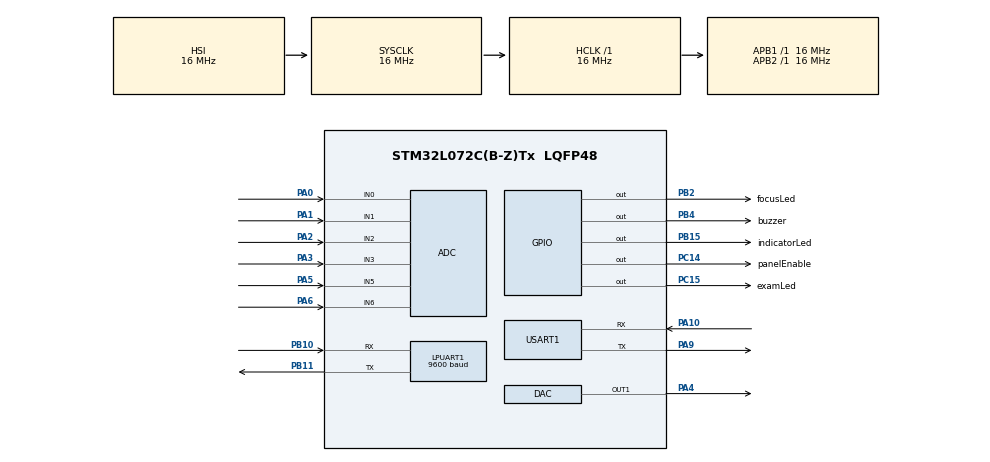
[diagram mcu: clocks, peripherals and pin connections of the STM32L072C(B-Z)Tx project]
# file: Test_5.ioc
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ADC.ContinuousConvMode=DISABLE
ADC.DMAContinuousRequests=ENABLE
Dma.ADC.0.Direction=DMA_PERIPH_TO_MEMORY
Dma.ADC.0.Instance=DMA1_Channel1
Dma.ADC.0.MemDataAlignment=DMA_MDATAALIGN_HALFWORD
Dma.ADC.0.MemInc=DMA_MINC_ENABLE
Dma.ADC.0.Mode=DMA_CIRCULAR
Dma.ADC.0.PeriphDataAlignment=DMA_PDATAALIGN_HALFWORD
Dma.ADC.0.PeriphInc=DMA_PINC_DISABLE
Dma.ADC.0.Priority=DMA_PRIORITY_LOW
Dma.LPUART1_RX.1.Direction=DMA_PERIPH_TO_MEMORY
Dma.LPUART1_RX.1.Instance=DMA1_Channel3
Dma.LPUART1_RX.1.MemDataAlignment=DMA_MDATAALIGN_BYTE
Dma.LPUART1_RX.1.MemInc=DMA_MINC_ENABLE
Dma.LPUART1_RX.1.Mode=DMA_NORMAL
Dma.LPUART1_RX.1.PeriphDataAlignment=DMA_PDATAALIGN_BYTE
Dma.LPUART1_RX.1.PeriphInc=DMA_PINC_DISABLE
Dma.LPUART1_RX.1.Priority=DMA_PRIORITY_LOW
Dma.Request0=ADC
Dma.Request1=LPUART1_RX
LPUART1.BaudRate=9600
LPUART1.WordLength=UART_WORDLENGTH_8B
Mcu.Family=STM32L0
Mcu.Name=STM32L072C(B-Z)Tx
Mcu.Package=LQFP48
NVIC.DMA1_Channel1_IRQn=true\:0\:0\:false\:false\:true\:false\:true
NVIC.DMA1_Channel2_3_IRQn=true\:0\:0\:false\:false\:true\:false\:true
NVIC.TIM7_IRQn=true\:0\:0\:false\:false\:true\:true\:true
NVIC.USART1_IRQn=true\:0\:0\:false\:false\:true\:true\:true
PA0.Mode=IN0
PA0.Signal=ADC_IN0
PA1.Mode=IN1
PA1.Signal=ADC_IN1
PA10.Mode=Asynchronous
PA10.Signal=USART1_RX
PA13.Mode=Serial_Wire
PA13.Signal=SYS_SWDIO
PA14.Mode=Serial_Wire
PA14.Signal=SYS_SWCLK
PA2.Mode=IN2
PA2.Signal=ADC_IN2
PA3.Mode=IN3
PA3.Signal=ADC_IN3
PA4.Signal=COMP_DAC1_group
PA5.Mode=IN5
PA5.Signal=ADC_IN5
PA6.Mode=IN6
PA6.Signal=ADC_IN6
PA9.Mode=Asynchronous
PA9.Signal=USART1_TX
PB10.Mode=Asynchronous
PB10.Signal=LPUART1_RX
PB11.Mode=Asynchronous
PB11.Signal=LPUART1_TX
PB15.GPIO_Label=indicatorLed
PB15.Signal=GPIO_Output
PB2.GPIO_Label=focusLed
PB2.Signal=GPIO_Output
PB4.GPIO_Label=buzzer
PB4.Signal=GPIO_Output
PC14-OSC32_IN.GPIO_Label=panelEnable
PC14-OSC32_IN.Signal=GPIO_Output
PC15-OSC32_OUT.GPIO_Label=examLed
PC15-OSC32_OUT.Signal=GPIO_Output
ProjectManager.HeapSize=0x200
ProjectManager.StackSize=0x400
ProjectManager.TargetToolchain=MDK-ARM V5
RCC.AHBFreq_Value=16000000
RCC.APB1Freq_Value=16000000
RCC.APB1TimFreq_Value=16000000
RCC.APB2Freq_Value=16000000
RCC.APB2TimFreq_Value=16000000
RCC.HCLKFreq_Value=16000000
RCC.HSE_VALUE=8000000
RCC.HSI16_VALUE=16000000
RCC.HSI48_VALUE=48000000
RCC.HSI_VALUE=16000000
RCC.LSE_VALUE=32768
RCC.MSI_VALUE=2097000
RCC.SYSCLKFreq_VALUE=16000000
RCC.SYSCLKSource=RCC_SYSCLKSOURCE_HSI
RCC.VCOOutputFreq_Value=48000000
SH.COMP_DAC1_group.0=DAC_OUT1,DAC_OUT1
TIM7.Period=3999
TIM7.Prescaler=3999
USART1.VirtualMode-Asynchronous=VM_ASYNC
VP_RTC_VS_RTC_Activate.Mode=RTC_Enabled
VP_RTC_VS_RTC_Calendar.Mode=RTC_Calendar
VP_TIM7_VS_ClockSourceINT.Mode=Enable_Timer
board=custom

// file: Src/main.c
/* USER CODE BEGIN Header */
/**
  ******************************************************************************
  * @file           : main.c
  * @brief          : Main program body
  ******************************************************************************
  * @attention
  *
  * <h2><center>&copy; Copyright (c) 2021 STMicroelectronics.
  * All rights reserved.</center></h2>
  *
  * This software component is licensed by ST under BSD 3-Clause license,
  * the "License"; You may not use this file except in compliance with the
  * License. You may obtain a copy of the License at:
  *                        opensource.org/licenses/BSD-3-Clause
  *
  ******************************************************************************
  */
/* USER CODE END Header */

#include "main.h"
#include "stdio.h"

ADC_HandleTypeDef hadc;
DMA_HandleTypeDef hdma_adc;

DAC_HandleTypeDef hdac;

UART_HandleTypeDef hlpuart1;
UART_HandleTypeDef huart1;
DMA_HandleTypeDef hdma_lpuart1_rx;

RTC_HandleTypeDef hrtc;

TIM_HandleTypeDef htim7;

/* USER CODE BEGIN PV */
uint16_t adc_buf[6];
uint8_t tempal_rx[4];
extern volatile uint8_t Rx_Data[2];
uint8_t state=0;
char string_celcius[] = {'0', '0', '0'};
char vbat[] = {0};

uint16_t tempal_temp;
uint16_t tempal_vbat;
/* USER CODE END PV */

void SystemClock_Config(void);
static void MX_GPIO_Init(void);
static void MX_DMA_Init(void);
static void MX_DAC_Init(void);
static void MX_ADC_Init(void);
static void MX_LPUART1_UART_Init(void);
static void MX_USART1_UART_Init(void);
static void MX_RTC_Init(void);
static void MX_TIM7_Init(void);

/**
  * @brief  The application entry poi
  * @retval int
  */
int main(void)
{

  /* MCU Configuration--------------------------------------------------------*/

  /* Reset of all peripherals, Initializes the Flash interface and the Systick. */
  HAL_Init();

  /* Configure the system clock */
  SystemClock_Config();

  /* Initialize all configured peripherals */
  MX_GPIO_Init();
  MX_DMA_Init();
  MX_DAC_Init();
  MX_ADC_Init();
  MX_LPUART1_UART_Init();
  MX_USART1_UART_Init();
  MX_RTC_Init();
  MX_TIM7_Init();
  /* USER CODE BEGIN 2 */
	__HAL_UART_ENABLE_IT(&huart1, UART_IT_RXNE);
	HAL_UART_Receive_DMA(&hlpuart1, tempal_rx, 4);
	while(HAL_ADCEx_Calibration_Start(&hadc, ADC_SINGLE_ENDED) != HAL_OK){};	// Kalibrasyon yap
	HAL_ADC_Start_DMA(&hadc, (uint32_t*)adc_buf, 6);
	HAL_DAC_Start(&hdac, DAC_CHANNEL_1);
	HAL_DAC_SetValue(&hdac, DAC_CHANNEL_1, DAC_ALIGN_12B_R, 0);

	while(Rx_Data[0]!='c')
	{
		HAL_GPIO_TogglePin(indicatorLed_GPIO_Port, indicatorLed_Pin);
		HAL_Delay(100);
	}
	HAL_GPIO_WritePin(indicatorLed_GPIO_Port, indicatorLed_Pin, GPIO_PIN_SET);

	Rx_Data[0]=0;

  /* USER CODE END 2 */

  /* Infinite loop */
  while (1)
  {
		state = Rx_Data[0];
		if(state!=0)
		{
			switch(state)
			{
				case 'S':
					HAL_GPIO_TogglePin(panelEnable_GPIO_Port, panelEnable_Pin);
					break;
				case 'F':
					HAL_GPIO_TogglePin(focusLed_GPIO_Port, focusLed_Pin);
					break;
				case 'E':
					HAL_GPIO_TogglePin(examLed_GPIO_Port, examLed_Pin);
					break;
				case 't':
					HAL_UART_Transmit(&huart1, (uint8_t*)tempal_rx, sizeof(tempal_rx), 100);
					break;
				case 'e':
					HAL_GPIO_WritePin(buzzer_GPIO_Port, buzzer_Pin, GPIO_PIN_SET);
					HAL_Delay(100);
					HAL_GPIO_WritePin(buzzer_GPIO_Port, buzzer_Pin, GPIO_PIN_RESET);
					break;
				case '1':
					HAL_DAC_SetValue(&hdac, DAC_CHANNEL_1, DAC_ALIGN_12B_R, 300);
					break;
				case '2':
					HAL_DAC_SetValue(&hdac, DAC_CHANNEL_1, DAC_ALIGN_12B_R, 510);
					break;
				case '3':
					HAL_DAC_SetValue(&hdac, DAC_CHANNEL_1, DAC_ALIGN_12B_R, 725);
					break;
				case '4':
					HAL_DAC_SetValue(&hdac, DAC_CHANNEL_1, DAC_ALIGN_12B_R, 950);
					break;
				case '5':
					HAL_DAC_SetValue(&hdac, DAC_CHANNEL_1, DAC_ALIGN_12B_R, 1305);
					break;
			}
			Rx_Data[0]=0;
		}
  }
}

void SystemClock_Config(void)
{
  RCC_OscInitTypeDef RCC_OscInitStruct = {0};
  RCC_ClkInitTypeDef RCC_ClkInitStruct = {0};
  RCC_PeriphCLKInitTypeDef PeriphClkInit = {0};

  /** Configure the main internal regulator output voltage
  */
  __HAL_PWR_VOLTAGESCALING_CONFIG(PWR_REGULATOR_VOLTAGE_SCALE1);
  /** Initializes the CPU, AHB and APB busses clocks
  */
  RCC_OscInitStruct.OscillatorType = RCC_OSCILLATORTYPE_HSI|RCC_OSCILLATORTYPE_LSI;
  RCC_OscInitStruct.HSIState = RCC_HSI_ON;
  RCC_OscInitStruct.HSICalibrationValue = RCC_HSICALIBRATION_DEFAULT;
  RCC_OscInitStruct.LSIState = RCC_LSI_ON;
  RCC_OscInitStruct.PLL.PLLState = RCC_PLL_NONE;
  if (HAL_RCC_OscConfig(&RCC_OscInitStruct) != HAL_OK)
  {
    Error_Handler();
  }
  /** Initializes the CPU, AHB and APB busses clocks
  */
  RCC_ClkInitStruct.ClockType = RCC_CLOCKTYPE_HCLK|RCC_CLOCKTYPE_SYSCLK
                              |RCC_CLOCKTYPE_PCLK1|RCC_CLOCKTYPE_PCLK2;
  RCC_ClkInitStruct.SYSCLKSource = RCC_SYSCLKSOURCE_HSI;
  RCC_ClkInitStruct.AHBCLKDivider = RCC_SYSCLK_DIV1;
  RCC_ClkInitStruct.APB1CLKDivider = RCC_HCLK_DIV1;
  RCC_ClkInitStruct.APB2CLKDivider = RCC_HCLK_DIV1;

  if (HAL_RCC_ClockConfig(&RCC_ClkInitStruct, FLASH_LATENCY_0) != HAL_OK)
  {
    Error_Handler();
  }
  PeriphClkInit.PeriphClockSelection = RCC_PERIPHCLK_USART1|RCC_PERIPHCLK_LPUART1
                              |RCC_PERIPHCLK_RTC;
  PeriphClkInit.Usart1ClockSelection = RCC_USART1CLKSOURCE_PCLK2;
  PeriphClkInit.Lpuart1ClockSelection = RCC_LPUART1CLKSOURCE_PCLK1;
  PeriphClkInit.RTCClockSelection = RCC_RTCCLKSOURCE_LSI;
  if (HAL_RCCEx_PeriphCLKConfig(&PeriphClkInit) != HAL_OK)
  {
    Error_Handler();
  }
}

static void MX_ADC_Init(void)
{

  ADC_ChannelConfTypeDef sConfig = {0};

  /** Configure the global features of the ADC (Clock, Resolution, Data Alignment and number of conversion)
  */
  hadc.Instance = ADC1;
  hadc.Init.OversamplingMode = DISABLE;
  hadc.Init.ClockPrescaler = ADC_CLOCK_SYNC_PCLK_DIV1;
  hadc.Init.Resolution = ADC_RESOLUTION_12B;
  hadc.Init.SamplingTime = ADC_SAMPLETIME_1CYCLE_5;
  hadc.Init.ScanConvMode = ADC_SCAN_DIRECTION_FORWARD;
  hadc.Init.DataAlign = ADC_DATAALIGN_RIGHT;
  hadc.Init.ContinuousConvMode = DISABLE;
  hadc.Init.DiscontinuousConvMode = DISABLE;
  hadc.Init.ExternalTrigConvEdge = ADC_EXTERNALTRIGCONVEDGE_NONE;
  hadc.Init.ExternalTrigConv = ADC_SOFTWARE_START;
  hadc.Init.DMAContinuousRequests = ENABLE;
  hadc.Init.EOCSelection = ADC_EOC_SINGLE_CONV;
  hadc.Init.Overrun = ADC_OVR_DATA_PRESERVED;
  hadc.Init.LowPowerAutoWait = DISABLE;
  hadc.Init.LowPowerFrequencyMode = DISABLE;
  hadc.Init.LowPowerAutoPowerOff = DISABLE;
  if (HAL_ADC_Init(&hadc) != HAL_OK)
  {
    Error_Handler();
  }
  /** Configure for the selected ADC regular channel to be converted.
  */
  sConfig.Channel = ADC_CHANNEL_0;
  sConfig.Rank = ADC_RANK_CHANNEL_NUMBER;
  if (HAL_ADC_ConfigChannel(&hadc, &sConfig) != HAL_OK)
  {
    Error_Handler();
  }
  /** Configure for the selected ADC regular channel to be converted.
  */
  sConfig.Channel = ADC_CHANNEL_1;
  if (HAL_ADC_ConfigChannel(&hadc, &sConfig) != HAL_OK)
  {
    Error_Handler();
  }
  /** Configure for the selected ADC regular channel to be converted.
  */
  sConfig.Channel = ADC_CHANNEL_2;
  if (HAL_ADC_ConfigChannel(&hadc, &sConfig) != HAL_OK)
  {
    Error_Handler();
  }
  /** Configure for the selected ADC regular channel to be converted.
  */
  sConfig.Channel = ADC_CHANNEL_3;
  if (HAL_ADC_ConfigChannel(&hadc, &sConfig) != HAL_OK)
  {
    Error_Handler();
  }
  /** Configure for the selected ADC regular channel to be converted.
  */
  sConfig.Channel = ADC_CHANNEL_5;
  if (HAL_ADC_ConfigChannel(&hadc, &sConfig) != HAL_OK)
  {
    Error_Handler();
  }
  /** Configure for the selected ADC regular channel to be converted.
  */
  sConfig.Channel = ADC_CHANNEL_6;
  if (HAL_ADC_ConfigChannel(&hadc, &sConfig) != HAL_OK)
  {
    Error_Handler();
  }

}

static void MX_DAC_Init(void)
{

  DAC_ChannelConfTypeDef sConfig = {0};

  /** DAC Initialization
  */
  hdac.Instance = DAC;
  if (HAL_DAC_Init(&hdac) != HAL_OK)
  {
    Error_Handler();
  }
  /** DAC channel OUT1 config
  */
  sConfig.DAC_Trigger = DAC_TRIGGER_NONE;
  sConfig.DAC_OutputBuffer = DAC_OUTPUTBUFFER_ENABLE;
  if (HAL_DAC_ConfigChannel(&hdac, &sConfig, DAC_CHANNEL_1) != HAL_OK)
  {
    Error_Handler();
  }

}

static void MX_LPUART1_UART_Init(void)
{

  hlpuart1.Instance = LPUART1;
  hlpuart1.Init.BaudRate = 9600;
  hlpuart1.Init.WordLength = UART_WORDLENGTH_8B;
  hlpuart1.Init.StopBits = UART_STOPBITS_1;
  hlpuart1.Init.Parity = UART_PARITY_NONE;
  hlpuart1.Init.Mode = UART_MODE_TX_RX;
  hlpuart1.Init.HwFlowCtl = UART_HWCONTROL_NONE;
  hlpuart1.Init.OneBitSampling = UART_ONE_BIT_SAMPLE_DISABLE;
  hlpuart1.AdvancedInit.AdvFeatureInit = UART_ADVFEATURE_NO_INIT;
  if (HAL_UART_Init(&hlpuart1) != HAL_OK)
  {
    Error_Handler();
  }

}

static void MX_USART1_UART_Init(void)
{

  huart1.Instance = USART1;
  huart1.Init.BaudRate = 115200;
  huart1.Init.WordLength = UART_WORDLENGTH_8B;
  huart1.Init.StopBits = UART_STOPBITS_1;
  huart1.Init.Parity = UART_PARITY_NONE;
  huart1.Init.Mode = UART_MODE_TX_RX;
  huart1.Init.HwFlowCtl = UART_HWCONTROL_NONE;
  huart1.Init.OverSampling = UART_OVERSAMPLING_16;
  huart1.Init.OneBitSampling = UART_ONE_BIT_SAMPLE_DISABLE;
  huart1.AdvancedInit.AdvFeatureInit = UART_ADVFEATURE_NO_INIT;
  if (HAL_UART_Init(&huart1) != HAL_OK)
  {
    Error_Handler();
  }

}

static void MX_RTC_Init(void)
{

  RTC_TimeTypeDef sTime = {0};
  RTC_DateTypeDef sDate = {0};

  /** Initialize RTC Only
  */
  hrtc.Instance = RTC;
  hrtc.Init.HourFormat = RTC_HOURFORMAT_24;
  hrtc.Init.AsynchPrediv = 127;
  hrtc.Init.SynchPrediv = 255;
  hrtc.Init.OutPut = RTC_OUTPUT_DISABLE;
  hrtc.Init.OutPutRemap = RTC_OUTPUT_REMAP_NONE;
  hrtc.Init.OutPutPolarity = RTC_OUTPUT_POLARITY_HIGH;
  hrtc.Init.OutPutType = RTC_OUTPUT_TYPE_OPENDRAIN;
  if (HAL_RTC_Init(&hrtc) != HAL_OK)
  {
    Error_Handler();
  }

  /** Initialize RTC and set the Time and Date
  */
  sTime.Hours = 0x0;
  sTime.Minutes = 0x0;
  sTime.Seconds = 0x0;
  sTime.DayLightSaving = RTC_DAYLIGHTSAVING_NONE;
  sTime.StoreOperation = RTC_STOREOPERATION_RESET;
  if (HAL_RTC_SetTime(&hrtc, &sTime, RTC_FORMAT_BCD) != HAL_OK)
  {
    Error_Handler();
  }
  sDate.WeekDay = RTC_WEEKDAY_MONDAY;
  sDate.Month = RTC_MONTH_JANUARY;
  sDate.Date = 0x1;
  sDate.Year = 0x0;

  if (HAL_RTC_SetDate(&hrtc, &sDate, RTC_FORMAT_BCD) != HAL_OK)
  {
    Error_Handler();
  }

}

static void MX_TIM7_Init(void)
{

  TIM_MasterConfigTypeDef sMasterConfig = {0};

  htim7.Instance = TIM7;
  htim7.Init.Prescaler = 3999;
  htim7.Init.CounterMode = TIM_COUNTERMODE_UP;
  htim7.Init.Period = 3999;
  htim7.Init.AutoReloadPreload = TIM_AUTORELOAD_PRELOAD_DISABLE;
  if (HAL_TIM_Base_Init(&htim7) != HAL_OK)
  {
    Error_Handler();
  }
  sMasterConfig.MasterOutputTrigger = TIM_TRGO_RESET;
  sMasterConfig.MasterSlaveMode = TIM_MASTERSLAVEMODE_DISABLE;
  if (HAL_TIMEx_MasterConfigSynchronization(&htim7, &sMasterConfig) != HAL_OK)
  {
    Error_Handler();
  }

}

static void MX_DMA_Init(void)
{
  /* DMA controller clock enable */
  __HAL_RCC_DMA1_CLK_ENABLE();

  /* DMA interrupt init */
  /* DMA1_Channel1_IRQn interrupt configuration */
  HAL_NVIC_SetPriority(DMA1_Channel1_IRQn, 0, 0);
  HAL_NVIC_EnableIRQ(DMA1_Channel1_IRQn);
  /* DMA1_Channel2_3_IRQn interrupt configuration */
  HAL_NVIC_SetPriority(DMA1_Channel2_3_IRQn, 0, 0);
  HAL_NVIC_EnableIRQ(DMA1_Channel2_3_IRQn);

}

static void MX_GPIO_Init(void)
{
  GPIO_InitTypeDef GPIO_InitStruct = {0};

  /* GPIO Ports Clock Enable */
  __HAL_RCC_GPIOC_CLK_ENABLE();
  __HAL_RCC_GPIOA_CLK_ENABLE();
  __HAL_RCC_GPIOB_CLK_ENABLE();

  /*Configure GPIO pin Output Level */
  HAL_GPIO_WritePin(GPIOC, panelEnable_Pin|examLed_Pin, GPIO_PIN_RESET);

  /*Configure GPIO pin Output Level */
  HAL_GPIO_WritePin(GPIOB, focusLed_Pin|indicatorLed_Pin|buzzer_Pin, GPIO_PIN_RESET);

  /*Configure GPIO pins : panelEnable_Pin examLed_Pin */
  GPIO_InitStruct.Pin = panelEnable_Pin|examLed_Pin;
  GPIO_InitStruct.Mode = GPIO_MODE_OUTPUT_PP;
  GPIO_InitStruct.Pull = GPIO_NOPULL;
  GPIO_InitStruct.Speed = GPIO_SPEED_FREQ_LOW;
  HAL_GPIO_Init(GPIOC, &GPIO_InitStruct);

  /*Configure GPIO pins : focusLed_Pin indicatorLed_Pin buzzer_Pin */
  GPIO_InitStruct.Pin = focusLed_Pin|indicatorLed_Pin|buzzer_Pin;
  GPIO_InitStruct.Mode = GPIO_MODE_OUTPUT_PP;
  GPIO_InitStruct.Pull = GPIO_NOPULL;
  GPIO_InitStruct.Speed = GPIO_SPEED_FREQ_LOW;
  HAL_GPIO_Init(GPIOB, &GPIO_InitStruct);

}

/* USER CODE BEGIN 4 */

void HAL_UART_RxCpltCallback(UART_HandleTypeDef *huart){
	HAL_UART_Receive_DMA(&hlpuart1, tempal_rx, 4);

}

/* USER CODE END 4 */

void Error_Handler(void)
{
}

/************************ (C) COPYRIGHT STMicroelectronics *****END OF FILE****/
